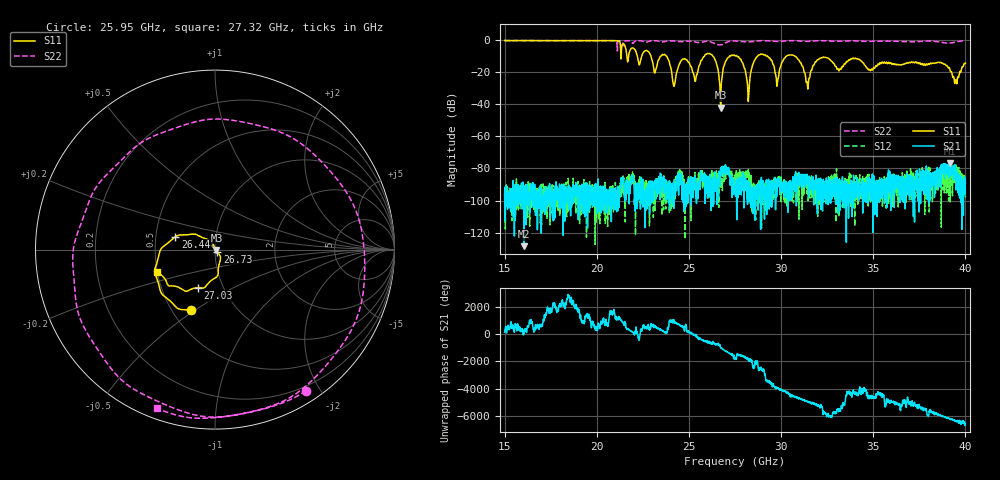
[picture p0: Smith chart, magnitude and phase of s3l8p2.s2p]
#  HZ  S  RI  R  50.00
! Rohde & Schwarz Vector Network Analyzer
! Rohde-Schwarz,ZNA43-4Port,1332450044101932,2.92
! Created: UTC 4/16/2025, 7:52:56 AM
! freq[Hz]  re:S11  im:S11  re:S21  im:S21  re:S12  im:S12  re:S22  im:S22
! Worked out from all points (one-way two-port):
!   2501 points, 15 GHz to 40 GHz, reference 50 ohm
!   highest |S21| = -76.66 dB at 39.17 GHz (marker M1); lowest = -128.5 dB at 16.05 GHz (marker M2)
!   lowest |S11| = -42.0 dB at 26.72 GHz (marker M3), VSWR 1.02, Z = 50.8 - j0.147 ohm
!   |S11| at or under -10 dB: 23.8 GHz to 25.83 GHz (2.038 GHz wide, 8.21 % of centre); 27.61 GHz to 28.73 GHz (1.122 GHz wide, 3.98 % of centre); 30.76 GHz to end of sweep (the widest 3 of 9)
!   |S22| runs from -6.6 to -0.2 dB; largest |S21 - S12| = 0.00016
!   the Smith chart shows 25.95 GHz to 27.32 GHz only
!   S11 on the Smith chart (normalised r, x): 25.95 GHz: 0.62, -0.48; 26.44 GHz: 0.63, +0.10; 26.73 GHz: 1.03, -0.02; 27.03 GHz: 0.76, -0.34; 27.32 GHz: 0.50, -0.14
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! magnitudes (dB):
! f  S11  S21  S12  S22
! 15 GHz  -0.2  -96.5  -96.5  -0.3
! 16.05 GHz  -0.2  -128.5  -96.4  -0.2
! 19.17 GHz  -0.3  -95.2  -97.3  -0.2
! 23.34 GHz  -12.3  -90.0  -95.3  -0.5
! 23.78 GHz  -9.8  -87.4  -99.1  -0.6
! 24.2 GHz  -28.6  -102.9  -90.9  -0.5
! 25.95 GHz  -8.8  -95.3  -86.6  -0.6
! 26.44 GHz  -12.7  -93.9  -83.6  -2.3
! 26.72 GHz  -42.0  -80.5  -87.6  -2.8
! 26.73 GHz  -35.3  -84.8  -86.3  -2.8
! 27.03 GHz  -12.7  -83.4  -83.0  -1.4
! 27.32 GHz  -9.3  -85.6  -81.7  -0.5
! 27.5 GHz  -9.7  -93.5  -86.0  -0.5
! 28.21 GHz  -35.4  -87.7  -83.1  -1.0
! 28.89 GHz  -8.7  -118.0  -101.2  -0.3
! 29.78 GHz  -28.7  -93.2  -89.6  -0.8
! 30.43 GHz  -9.3  -89.6  -89.1  -0.3
! 31.43 GHz  -28.3  -86.4  -91.1  -0.7
! 31.67 GHz  -18.5  -85.4  -98.2  -0.5
! 35.84 GHz  -13.8  -85.3  -85.6  -0.5
! 39.17 GHz  -18.8  -76.7  -88.0  -1.8
! 40 GHz  -14.3  -89.3  -98.1  -0.3
